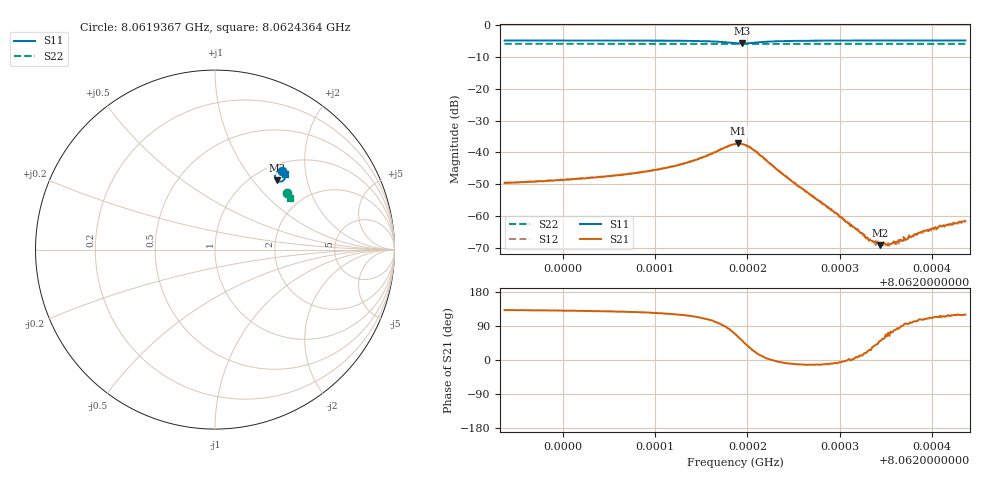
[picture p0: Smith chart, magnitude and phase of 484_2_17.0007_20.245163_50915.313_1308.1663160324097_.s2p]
#  HZ  S  RI  R  50.00
! Rohde & Schwarz Vector Network Analyzer
! Rohde-Schwarz,ZNB20-2Port,1311601062101988,3.16
! Created: UTC 3/20/2024, 11:13:48 PM
! freq[Hz]  re:S11  im:S11  re:S21  im:S21  re:S12  im:S12  re:S22  im:S22
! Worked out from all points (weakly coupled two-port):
!   401 points, 8.0619367 GHz to 8.0624364 GHz, reference 50 ohm
!   highest |S21| = -37.21 dB at 8.0621903 GHz (marker M1); lowest = -69.3 dB at 8.062344 GHz (marker M2)
!   lowest |S11| = -5.7 dB at 8.0621941 GHz (marker M3), VSWR 3.14, Z = 63.4 + j66.6 ohm
!   |S11| at or under -10 dB: nowhere
!   |S22| runs from -5.9 to -5.8 dB; largest |S21 - S12| = 0.001
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8.06193674e9  0.3729 0.4392  -0.00219 0.00247  -0.00205 0.00259  0.4016 0.315
8.06202044e9  0.3793 0.4331  -0.00247 0.00298  -0.00229 0.00317  0.4048 0.3107
8.06206291e9  0.3828 0.4289  -0.00268 0.00349  -0.0025 0.0037  0.4062 0.3086
8.06210414e9  0.387 0.4227  -0.00298 0.0045  -0.00275 0.00472  0.4078 0.3062
8.06214161e9  0.3909 0.4114  -0.00311 0.00669  -0.00275 0.00692  0.409 0.3039
8.06218659e9  0.3608 0.3789  0.00485 0.0125  0.00556 0.0124  0.4088 0.3007
8.06219033e9  0.3522 0.3807  0.00688 0.0119  0.00753 0.0115  0.4085 0.3008
8.06219408e9  0.3444 0.3853  0.00825 0.0106  0.00911 0.0102  0.4084 0.3008
8.06220782e9  0.335 0.4132  0.00985 0.00408  0.0101 0.00335  0.4088 0.3017
8.06224405e9  0.3612 0.4355  0.00386 -0.000631  0.00382 -0.000834  0.4115 0.3006
8.06227029e9  0.371 0.4346  0.00199 -0.000437  0.002 -0.000597  0.4128 0.2991
8.06231776e9  0.3801 0.4309  0.000611 8.51e-05  0.000616 4.06e-05  0.4147 0.2964
8.062329e9  0.3815 0.43  0.000425 0.000143  0.000421 0.000113  0.4151 0.2959
8.06233649e9  0.3825 0.4294  0.00032 0.000227  0.000327 0.000198  0.4154 0.2954
8.06234399e9  0.3833 0.4289  0.000218 0.000263  0.000259 0.000276  0.4158 0.2951
8.06234774e9  0.3838 0.4287  0.000214 0.000315  0.000197 0.000282  0.4157 0.2949
8.06235398e9  0.3843 0.4282  0.000158 0.000315  0.000171 0.000291  0.4161 0.2945
8.06236273e9  0.3852 0.4276  3.84e-05 0.000378  6.03e-05 0.000395  0.4164 0.2941
8.06236772e9  0.3858 0.4273  5.12e-07 0.000401  -4.21e-06 0.000443  0.4167 0.2937
8.06240145e9  0.3887 0.4251  -0.000238 0.000575  -0.000215 0.000576  0.4178 0.292
8.06242519e9  0.3905 0.4236  -0.00037 0.000666  -0.000316 0.00071  0.4186 0.2907
8.06243643e9  0.3913 0.423  -0.000407 0.000711  -0.000363 0.000744  0.419 0.2901
